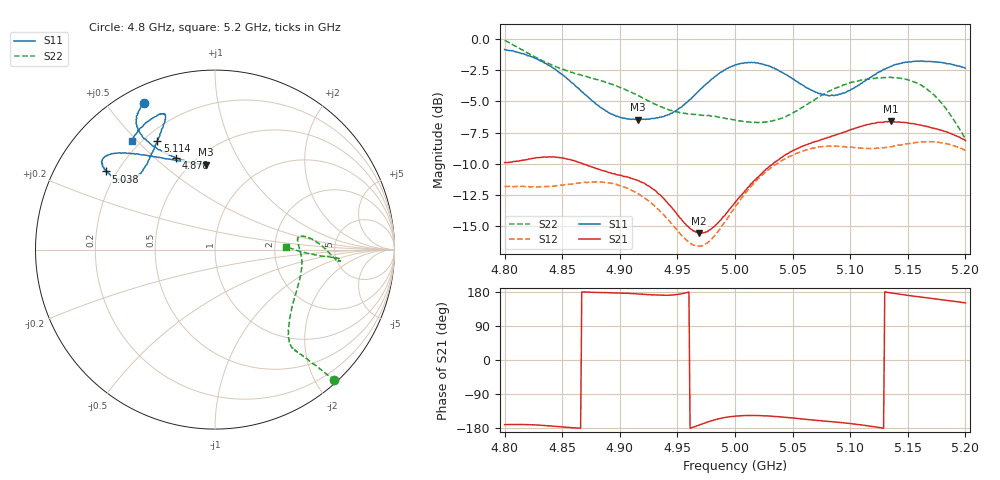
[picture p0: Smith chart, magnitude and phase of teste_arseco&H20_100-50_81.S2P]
! Network Analyzer HP8722D
! Hewlett-Packard
! Data name: Linha & Wilkinson
! Saver's name: Rodrigo Anjos
! Comments: Teste da utilização de aquisição
! continua pelo VNA HP8722D
! Time and date: 6/5/2025 13:14
!  Frequency  S11  S21  S12  S22
# HZ  S  MA R 50
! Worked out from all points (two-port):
!   401 points, 4.8 GHz to 5.2 GHz, reference 50 ohm
!   highest |S21| = -6.61 dB at 5.135 GHz (marker M1); lowest = -15.6 dB at 4.969 GHz (marker M2)
!   |S21| within 3 dB of the highest: 4.822 GHz to 4.854 GHz (31.72 MHz wide, 0.656 % of centre); 5.039 GHz to end of sweep (the widest 2 of 3)
!   lowest |S11| = -6.5 dB at 4.916 GHz (marker M3), VSWR 2.81, Z = 29.1 + j35.5 ohm
!   |S11| at or under -10 dB: nowhere
!   |S22| runs from -8.0 to -0.1 dB; largest |S21 - S12| = 0.83
!   S11 on the Smith chart (normalised r, x): 4.8 GHz: 0.07, +0.62; 4.878 GHz: 0.40, +0.59; 5.038 GHz: 0.16, +0.31; 5.114 GHz: 0.25, +0.57; 5.2 GHz: 0.17, +0.48
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4.8e9  0.9056 115.9  0.32 -170.5  0.2567 -86.0  0.985 -47.6
4.834e9  0.803 122.4  0.3367 -172.7  0.256 -76.9  0.812 -49.7
4.846e9  0.7413 122.7  0.3359 -175.5  0.2593 -72.8  0.7687 -50.4
4.867e9  0.6143 117.9  0.3178 179.7  0.2656 -67.4  0.7143 -51.5
4.878e9  0.5565 113.0  0.3052 178.4  0.2673 -66.1  0.6916 -51.8
4.9e9  0.4862 101.3  0.285 176.8  0.2588 -66.6  0.6388 -50.2
4.916e9  0.4754 96.3  0.2709 174.2  0.2401 -68.3  0.5924 -46.1
4.934e9  0.4848 99.1  0.2394 171.1  0.2071 -69.5  0.5388 -37.5
4.947e9  0.5109 106.9  0.2063 172.0  0.1778 -67.0  0.5134 -29.0
4.969e9  0.6206 123.5  0.1667 -171.6  0.1482 -47.8  0.4963 -15.1
4.981e9  0.6954 130.1  0.1763 -159.2  0.1608 -33.9  0.4897 -8.8
5e9  0.787 137.2  0.2212 -148.3  0.2129 -21.5  0.4729 -0.3
5.019e9  0.8005 141.7  0.2776 -146.6  0.2718 -18.3  0.4626 5.9
5.038e9  0.7463 144.3  0.3292 -149.7  0.3209 -18.5  0.4777 8.9
5.067e9  0.6219 141.9  0.3851 -158.0  0.3652 -20.6  0.5629 4.7
5.087e9  0.5948 133.5  0.4118 -163.8  0.372 -23.6  0.6341 -1.4
5.114e9  0.6843 118.0  0.4527 -173.1  0.3646 -26.5  0.6884 -5.4
5.134e9  0.7705 111.2  0.4658 177.8  0.369 -28.8  0.7015 -4.8
5.135e9  0.7755 111.1  0.4673 177.4  0.3705 -28.8  0.7023 -4.7
5.163e9  0.8136 113.0  0.4498 165.5  0.3872 -35.6  0.6448 -3.7
5.18e9  0.8032 119.0  0.4299 158.9  0.3838 -40.9  0.5485 -2.8
5.2e9  0.7631 127.4  0.3919 150.7  0.3585 -46.4  0.3963 2.5
